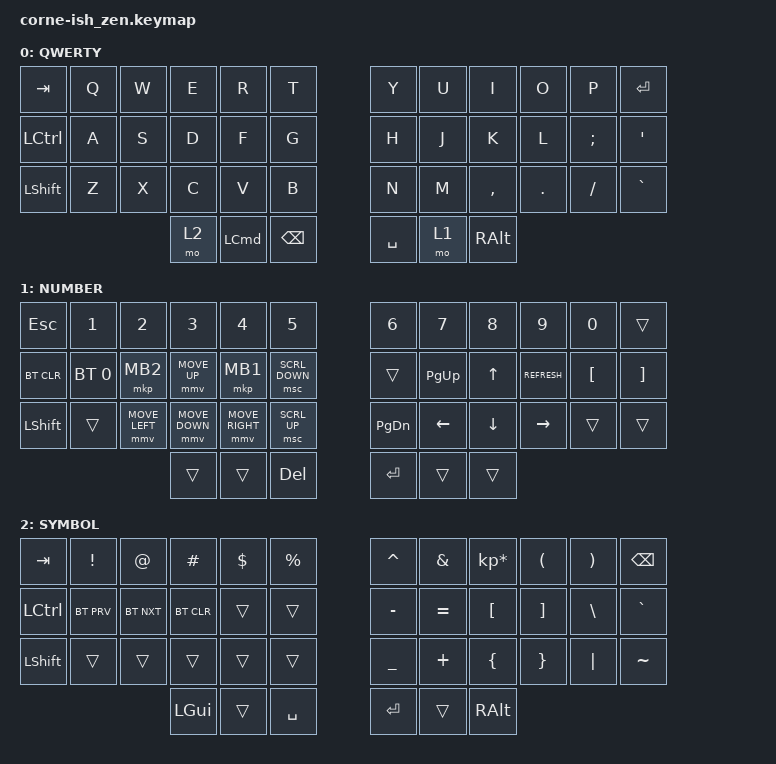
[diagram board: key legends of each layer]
/*
*
* Copyright (c) 2021 Darryl deHaan
* SPDX-License-Identifier: MIT
*
*/

#include <behaviors.dtsi>
#include <dt-bindings/zmk/bt.h>
#include <dt-bindings/zmk/keys.h>
#include <dt-bindings/zmk/pointing.h>

/ {
    chosen {
        zmk,matrix_transform = &default_transform;

        //zmk,matrix_transform = &five_column_transform;
    };
};

/ {
    keymap {
        compatible = "zmk,keymap";

        default_layer {
            label = "QWERTY";

            // -----------------------------------------------------------------------------------------
            // |  TAB |  Q  |  W  |  E  |  R  |  T  |   |  Y  |  U   |  I  |  O  |  P  | BKSP |
            // | CTRL |  A  |  S  |  D  |  F  |  G  |   |  H  |  J   |  K  |  L  |  ;  |  '   |
            // | SHFT |  Z  |  X  |  C  |  V  |  B  |   |  N  |  M   |  ,  |  .  |  /  | ESC  |
            //                    | GUI | LWR | SPC |   | ENT | RSE  | ALT |

            bindings = <
&kp TAB           &kp Q  &kp W  &kp E  &kp R             &kp T            &kp Y      &kp U  &kp I      &kp O    &kp P     &kp ENTER
&kp LEFT_CONTROL  &kp A  &kp S  &kp D  &kp F             &kp G            &kp H      &kp J  &kp K      &kp L    &kp SEMI  &kp SQT
&kp LSHFT         &kp Z  &kp X  &kp C  &kp V             &kp B            &kp N      &kp M  &kp COMMA  &kp DOT  &kp FSLH  &kp GRAVE
                                &mo 2  &kp LEFT_COMMAND  &kp BACKSPACE    &kp SPACE  &mo 1  &kp RALT
            >;
        };

        lower_layer {
            label = "NUMBER";

            // -----------------------------------------------------------------------------------------
            // |  TAB |  1  |  2  |  3  |  4  |  5  |   |  6  |  7  |  8  |  9  |  0  | BKSP |
            // | BTCLR| BT1 | BT2 | BT3 | BT4 | BT5 |   | LFT | DWN |  UP | RGT |     |      |
            // | SHFT |     |     |     |     |     |   |     |     |     |     |     |      |
            //                    | GUI |     | SPC |   | ENT |     | ALT |

            bindings = <
&kp ESCAPE  &kp N1        &kp N2          &kp N3          &kp N4           &kp N5            &kp N6         &kp N7       &kp N8          &kp N9         &kp N0            &trans
&bt BT_CLR  &bt BT_SEL 0  &mkp MB2        &mmv MOVE_UP    &mkp MB1         &msc SCRL_DOWN    &trans         &kp PAGE_UP  &kp UP_ARROW    &kp K_REFRESH  &kp LEFT_BRACKET  &kp RIGHT_BRACKET
&kp LSHFT   &trans        &mmv MOVE_LEFT  &mmv MOVE_DOWN  &mmv MOVE_RIGHT  &msc SCRL_UP      &kp PAGE_DOWN  &kp LEFT     &kp DOWN_ARROW  &kp RIGHT      &trans            &trans
                                          &trans          &trans           &kp DELETE        &kp RET        &trans       &trans
            >;
        };

        raise_layer {
            label = "SYMBOL";

            // -----------------------------------------------------------------------------------------
            // |  TAB |  !  |  @  |  #  |  $  |  %  |   |  ^  |  &  |  *  |  (  |  )  | BKSP |
            // | CTRL |     |     |     |     |     |   |  -  |  =  |  [  |  ]  |  \  |  `   |
            // | SHFT |     |     |     |     |     |   |  _  |  +  |  {  |  }  | "|" |  ~   |
            //                    | GUI |     | SPC |   | ENT |     | ALT |

            bindings = <
&kp TAB    &kp EXCL    &kp AT      &kp HASH    &kp DLLR  &kp PRCNT    &kp CARET  &kp AMPS   &kp KP_MULTIPLY  &kp LPAR  &kp RPAR  &kp BSPC
&kp LCTRL  &bt BT_PRV  &bt BT_NXT  &bt BT_CLR  &trans    &trans       &kp MINUS  &kp EQUAL  &kp LBKT         &kp RBKT  &kp BSLH  &kp GRAVE
&kp LSHFT  &trans      &trans      &trans      &trans    &trans       &kp UNDER  &kp PLUS   &kp LBRC         &kp RBRC  &kp PIPE  &kp TILDE
                                   &kp LGUI    &trans    &kp SPACE    &kp RET    &trans     &kp RALT
            >;
        };
    };
};
